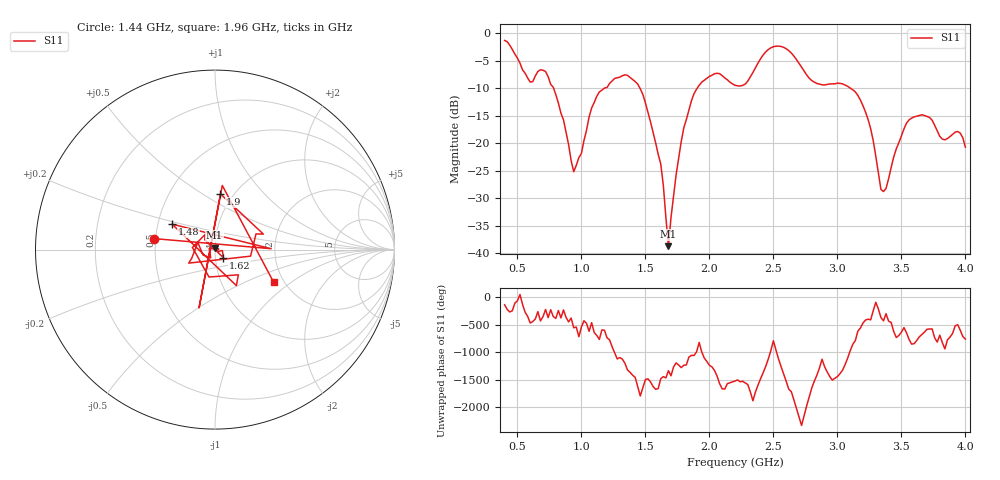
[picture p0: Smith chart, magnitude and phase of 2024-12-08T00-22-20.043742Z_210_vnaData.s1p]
!Created with skrf (http://scikit-rf.org).
# Hz S RI R 50.0
!freq ReS11 ImS11
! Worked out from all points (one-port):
!   181 points, 400 MHz to 4 GHz, reference 50 ohm
!   lowest |S11| = -38.7 dB at 1.68 GHz (marker M1), VSWR 1.02, Z = 49.8 + j1.13 ohm
!   |S11| at or under -10 dB: 782.9 MHz to 1.178 GHz (394.8 MHz wide, 40.3 % of centre); 1.458 GHz to 1.904 GHz (445.9 MHz wide, 26.5 % of centre); 3.104 GHz to end of sweep
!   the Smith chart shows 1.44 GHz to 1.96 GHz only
!   S11 on the Smith chart (normalised r, x): 1.44 GHz: 0.49, +0.07; 1.48 GHz: 0.59, +0.18; 1.62 GHz: 1.09, -0.10; 1.9 GHz: 0.87, +0.60; 1.96 GHz: 1.77, -0.75
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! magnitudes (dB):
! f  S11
! 400 MHz  -1.3
! 600 MHz  -8.8
! 720 MHz  -6.9
! 860 MHz  -15.7
! 940 MHz  -25.2
! 1.12 GHz  -11.4
! 1.3 GHz  -8.0
! 1.44 GHz  -9.2
! 1.48 GHz  -11.1
! 1.62 GHz  -23.8
! 1.68 GHz  -38.7
! 1.76 GHz  -22.7
! 1.8 GHz  -17.2
! 1.9 GHz  -10.1
! 1.96 GHz  -8.5
! 2.2 GHz  -9.4
! 2.48 GHz  -2.6
! 2.66 GHz  -4.1
! 2.82 GHz  -8.9
! 3.1 GHz  -9.9
! 3.24 GHz  -15.7
! 3.34 GHz  -28.4
! 3.36 GHz  -28.8
! 3.56 GHz  -15.7
! 3.72 GHz  -15.3
! 3.82 GHz  -19.2
! 3.94 GHz  -17.9
! 4 GHz  -20.7
